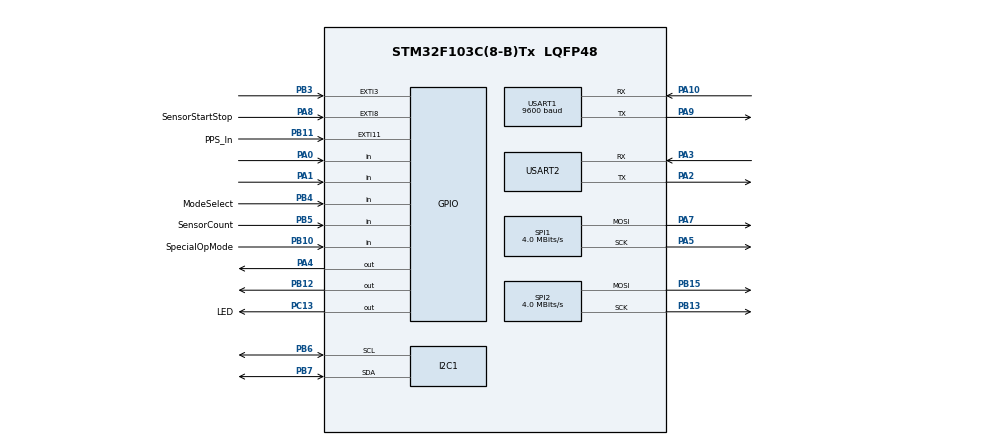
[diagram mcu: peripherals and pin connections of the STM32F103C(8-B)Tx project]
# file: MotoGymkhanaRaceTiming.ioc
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Mcu.Family=STM32F1
Mcu.Name=STM32F103C(8-B)Tx
Mcu.Package=LQFP48
NVIC.EXTI15_10_IRQn=true\:2\:0\:true\:false\:true\:true\:true
NVIC.EXTI3_IRQn=true\:1\:0\:true\:false\:true\:true\:true
NVIC.EXTI9_5_IRQn=true\:2\:0\:true\:false\:true\:true\:true
NVIC.PriorityGroup=NVIC_PRIORITYGROUP_4
NVIC.TIM2_IRQn=true\:0\:0\:false\:false\:true\:true\:true
PA0-WKUP.Signal=GPIO_Input
PA1.Signal=GPIO_Input
PA10.Mode=Asynchronous
PA10.Signal=USART1_RX
PA13.Mode=Serial_Wire
PA13.Signal=SYS_JTMS-SWDIO
PA14.Mode=Serial_Wire
PA14.Signal=SYS_JTCK-SWCLK
PA2.Mode=Asynchronous
PA2.Signal=USART2_TX
PA3.Mode=Asynchronous
PA3.Signal=USART2_RX
PA4.Signal=GPIO_Output
PA5.Mode=TX_Only_Simplex_Unidirect_Master
PA5.Signal=SPI1_SCK
PA7.Mode=TX_Only_Simplex_Unidirect_Master
PA7.Signal=SPI1_MOSI
PA8.GPIO_Label=SensorStartStop
PA8.GPIO_PuPd=GPIO_PULLDOWN
PA8.Signal=GPXTI8
PA9.Mode=Asynchronous
PA9.Signal=USART1_TX
PB10.GPIO_Label=SpecialOpMode
PB10.GPIO_PuPd=GPIO_PULLDOWN
PB10.Signal=GPIO_Input
PB11.GPIO_Label=PPS_In
PB11.GPIO_PuPd=GPIO_PULLDOWN
PB11.Signal=GPXTI11
PB12.Signal=GPIO_Output
PB13.Mode=TX_Only_Simplex_Unidirect_Master
PB13.Signal=SPI2_SCK
PB15.Mode=TX_Only_Simplex_Unidirect_Master
PB15.Signal=SPI2_MOSI
PB3.GPIO_PuPd=GPIO_PULLDOWN
PB3.Signal=GPXTI3
PB4.GPIO_Label=ModeSelect
PB4.GPIO_PuPd=GPIO_PULLDOWN
PB4.Signal=GPIO_Input
PB5.GPIO_Label=SensorCount
PB5.GPIO_PuPd=GPIO_PULLDOWN
PB5.Signal=GPIO_Input
PB6.Mode=I2C
PB6.Signal=I2C1_SCL
PB7.Mode=I2C
PB7.Signal=I2C1_SDA
PC13-TAMPER-RTC.GPIO_Label=LED
PC13-TAMPER-RTC.Signal=GPIO_Output
PC14-OSC32_IN.Mode=LSE-External-Oscillator
PC14-OSC32_IN.Signal=RCC_OSC32_IN
PC15-OSC32_OUT.Mode=LSE-External-Oscillator
PC15-OSC32_OUT.Signal=RCC_OSC32_OUT
PD0-OSC_IN.Mode=HSE-External-Oscillator
PD0-OSC_IN.Signal=RCC_OSC_IN
PD1-OSC_OUT.Mode=HSE-External-Oscillator
PD1-OSC_OUT.Signal=RCC_OSC_OUT
ProjectManager.HeapSize=0x200
ProjectManager.StackSize=0x400
ProjectManager.TargetToolchain=STM32CubeIDE
RCC.AHBFreq_Value=32000000
RCC.APB1Freq_Value=32000000
RCC.APB1TimFreq_Value=32000000
RCC.APB2Freq_Value=32000000
RCC.APB2TimFreq_Value=32000000
RCC.HCLKFreq_Value=32000000
RCC.HSICalibrationValue=8
RCC.PLLMUL=RCC_PLL_MUL4
RCC.PLLSourceVirtual=RCC_PLLSOURCE_HSE
RCC.SYSCLKFreq_VALUE=32000000
RCC.SYSCLKSource=RCC_SYSCLKSOURCE_PLLCLK
RCC.USBFreq_Value=32000000
SPI1.BaudRatePrescaler=SPI_BAUDRATEPRESCALER_8
SPI1.CalculateBaudRate=4.0 MBits/s
SPI1.DataSize=SPI_DATASIZE_16BIT
SPI1.Direction=SPI_DIRECTION_2LINES
SPI1.Mode=SPI_MODE_MASTER
SPI1.VirtualType=VM_MASTER
SPI2.BaudRatePrescaler=SPI_BAUDRATEPRESCALER_8
SPI2.CalculateBaudRate=4.0 MBits/s
SPI2.DataSize=SPI_DATASIZE_16BIT
SPI2.Direction=SPI_DIRECTION_2LINES
SPI2.Mode=SPI_MODE_MASTER
SPI2.VirtualType=VM_MASTER
TIM2.AutoReloadPreload=TIM_AUTORELOAD_PRELOAD_ENABLE
TIM2.Period=999
TIM2.Prescaler=31
USART1.BaudRate=9600
USART1.VirtualMode=VM_ASYNC
USART2.VirtualMode=VM_ASYNC
VP_TIM2_VS_ClockSourceINT.Mode=Internal
board=custom

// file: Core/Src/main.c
/* USER CODE BEGIN Header */
/**
  ******************************************************************************
  * @file           : main.c
  * @brief          : Main program body
  ******************************************************************************
  * @attention
  *
  * <h2><center>&copy; Copyright (c) 2020 STMicroelectronics.
  * All rights reserved.</center></h2>
  *
  * This software component is licensed by ST under BSD 3-Clause license,
  * the "License"; You may not use this file except in compliance with the
  * License. You may obtain a copy of the License at:
  *                        opensource.org/licenses/BSD-3-Clause
  *
  ******************************************************************************
  */
/* USER CODE END Header */

#include "main.h"

/* USER CODE BEGIN Includes */
#include "TimeMgmt.h"
#include "Configuration.h"
#include "RaceTiming.h"
#include "Inputs.h"
#include <string.h>
/* USER CODE END Includes */

/* USER CODE BEGIN PV */
uint8_t uartData[14] = {0};
volatile uint8_t uartTxIndex = 0;
/* USER CODE END PV */

void SystemClock_Config(void);
static void MX_GPIO_Init(void);
static void MX_USART1_UART_Init(void);
static void MX_TIM2_Init(void);
static void MX_I2C1_Init(void);
static void MX_SPI2_Init(void);
static void MX_SPI1_Init(void);
static void MX_USART2_UART_Init(void);

int main(void)
{

    /* MCU Configuration--------------------------------------------------------*/

    /* Reset of all peripherals, Initializes the Flash interface and the Systick. */

    LL_APB2_GRP1_EnableClock(LL_APB2_GRP1_PERIPH_AFIO);
    LL_APB1_GRP1_EnableClock(LL_APB1_GRP1_PERIPH_PWR);

    NVIC_SetPriorityGrouping(NVIC_PRIORITYGROUP_4);

    /* System interrupt init*/

    /** NOJTAG: JTAG-DP Disabled and SW-DP Enabled
    */
    LL_GPIO_AF_Remap_SWJ_NOJTAG();

    /* Configure the system clock */
    SystemClock_Config();

    /* Initialize all configured peripherals */
    MX_GPIO_Init();
    MX_USART1_UART_Init();
    MX_TIM2_Init();
    MX_I2C1_Init();
    MX_SPI2_Init();
    MX_SPI1_Init();
    MX_USART2_UART_Init();
    /* USER CODE BEGIN 2 */
    LL_TIM_EnableIT_UPDATE(TIM2);
    LL_TIM_EnableCounter(TIM2);
    LL_I2C_Enable(I2C1);
    LL_GPIO_SetOutputPin(GPIOA, LL_GPIO_PIN_4);
    LL_GPIO_SetOutputPin(GPIOB, LL_GPIO_PIN_12);
    LL_SPI_Enable(SPI2);
    LL_SPI_Enable(SPI1);
    InitInputs();
    //LL_EXTI_EnableRisingTrig_0_31(LL_EXTI_LINE_11);
    //LL_EXTI_EnableRisingTrig_0_31(LL_EXTI_LINE_8);
    //LL_EXTI_EnableRisingTrig_0_31(LL_EXTI_LINE_3);

    /* USER CODE END 2 */

    /* Infinite loop */
    while(1)
    {

        /* USER CODE BEGIN 3 */
        UpdateAllInputs();
        if(ppsTick == 1U)
        {
            LL_GPIO_TogglePin(GPIOC, LL_GPIO_PIN_13);
            ppsTick = 0U;
        }
        if(autoConfigurationDone == 0U)
        {
            RunAutoConfiguration();
        }
        else
        {
            RunRaceTiming();
        }
    }
    /* USER CODE END 3 */
}

void SystemClock_Config(void)
{
    LL_FLASH_SetLatency(LL_FLASH_LATENCY_1);

    if(LL_FLASH_GetLatency() != LL_FLASH_LATENCY_1)
    {
        Error_Handler();
    }
    LL_RCC_HSE_Enable();

    /* Wait till HSE is ready */
    while(LL_RCC_HSE_IsReady() != 1)
    {

    }
    LL_RCC_PLL_ConfigDomain_SYS(LL_RCC_PLLSOURCE_HSE_DIV_1, LL_RCC_PLL_MUL_4);
    LL_RCC_PLL_Enable();

    /* Wait till PLL is ready */
    while(LL_RCC_PLL_IsReady() != 1)
    {

    }
    LL_RCC_SetAHBPrescaler(LL_RCC_SYSCLK_DIV_1);
    LL_RCC_SetAPB1Prescaler(LL_RCC_APB1_DIV_1);
    LL_RCC_SetAPB2Prescaler(LL_RCC_APB2_DIV_1);
    LL_RCC_SetSysClkSource(LL_RCC_SYS_CLKSOURCE_PLL);

    /* Wait till System clock is ready */
    while(LL_RCC_GetSysClkSource() != LL_RCC_SYS_CLKSOURCE_STATUS_PLL)
    {

    }
    LL_Init1msTick(32000000);
    LL_SetSystemCoreClock(32000000);
}

static void MX_I2C1_Init(void)
{

    LL_I2C_InitTypeDef I2C_InitStruct = {0};

    LL_GPIO_InitTypeDef GPIO_InitStruct = {0};

    LL_APB2_GRP1_EnableClock(LL_APB2_GRP1_PERIPH_GPIOB);
    /**I2C1 GPIO Configuration
    PB6   ------> I2C1_SCL
    PB7   ------> I2C1_SDA
    */
    GPIO_InitStruct.Pin = LL_GPIO_PIN_6 | LL_GPIO_PIN_7;
    GPIO_InitStruct.Mode = LL_GPIO_MODE_ALTERNATE;
    GPIO_InitStruct.Speed = LL_GPIO_SPEED_FREQ_HIGH;
    GPIO_InitStruct.OutputType = LL_GPIO_OUTPUT_OPENDRAIN;
    LL_GPIO_Init(GPIOB, &GPIO_InitStruct);

    /* Peripheral clock enable */
    LL_APB1_GRP1_EnableClock(LL_APB1_GRP1_PERIPH_I2C1);

    /** I2C Initialization
    */
    LL_I2C_DisableOwnAddress2(I2C1);
    LL_I2C_DisableGeneralCall(I2C1);
    LL_I2C_EnableClockStretching(I2C1);
    I2C_InitStruct.PeripheralMode = LL_I2C_MODE_I2C;
    I2C_InitStruct.ClockSpeed = 100000;
    I2C_InitStruct.DutyCycle = LL_I2C_DUTYCYCLE_2;
    I2C_InitStruct.OwnAddress1 = 0;
    I2C_InitStruct.TypeAcknowledge = LL_I2C_ACK;
    I2C_InitStruct.OwnAddrSize = LL_I2C_OWNADDRESS1_7BIT;
    LL_I2C_Init(I2C1, &I2C_InitStruct);
    LL_I2C_SetOwnAddress2(I2C1, 0);

}

static void MX_SPI1_Init(void)
{

    LL_SPI_InitTypeDef SPI_InitStruct = {0};

    LL_GPIO_InitTypeDef GPIO_InitStruct = {0};

    /* Peripheral clock enable */
    LL_APB2_GRP1_EnableClock(LL_APB2_GRP1_PERIPH_SPI1);

    LL_APB2_GRP1_EnableClock(LL_APB2_GRP1_PERIPH_GPIOA);
    /**SPI1 GPIO Configuration
    PA5   ------> SPI1_SCK
    PA7   ------> SPI1_MOSI
    */
    GPIO_InitStruct.Pin = LL_GPIO_PIN_5 | LL_GPIO_PIN_7;
    GPIO_InitStruct.Mode = LL_GPIO_MODE_ALTERNATE;
    GPIO_InitStruct.Speed = LL_GPIO_SPEED_FREQ_HIGH;
    GPIO_InitStruct.OutputType = LL_GPIO_OUTPUT_PUSHPULL;
    LL_GPIO_Init(GPIOA, &GPIO_InitStruct);

    /* SPI1 parameter configuration*/
    SPI_InitStruct.TransferDirection = LL_SPI_FULL_DUPLEX;
    SPI_InitStruct.Mode = LL_SPI_MODE_MASTER;
    SPI_InitStruct.DataWidth = LL_SPI_DATAWIDTH_16BIT;
    SPI_InitStruct.ClockPolarity = LL_SPI_POLARITY_LOW;
    SPI_InitStruct.ClockPhase = LL_SPI_PHASE_1EDGE;
    SPI_InitStruct.NSS = LL_SPI_NSS_SOFT;
    SPI_InitStruct.BaudRate = LL_SPI_BAUDRATEPRESCALER_DIV8;
    SPI_InitStruct.BitOrder = LL_SPI_MSB_FIRST;
    SPI_InitStruct.CRCCalculation = LL_SPI_CRCCALCULATION_DISABLE;
    SPI_InitStruct.CRCPoly = 10;
    LL_SPI_Init(SPI1, &SPI_InitStruct);

}

static void MX_SPI2_Init(void)
{

    LL_SPI_InitTypeDef SPI_InitStruct = {0};

    LL_GPIO_InitTypeDef GPIO_InitStruct = {0};

    /* Peripheral clock enable */
    LL_APB1_GRP1_EnableClock(LL_APB1_GRP1_PERIPH_SPI2);

    LL_APB2_GRP1_EnableClock(LL_APB2_GRP1_PERIPH_GPIOB);
    /**SPI2 GPIO Configuration
    PB13   ------> SPI2_SCK
    PB15   ------> SPI2_MOSI
    */
    GPIO_InitStruct.Pin = LL_GPIO_PIN_13 | LL_GPIO_PIN_15;
    GPIO_InitStruct.Mode = LL_GPIO_MODE_ALTERNATE;
    GPIO_InitStruct.Speed = LL_GPIO_SPEED_FREQ_HIGH;
    GPIO_InitStruct.OutputType = LL_GPIO_OUTPUT_PUSHPULL;
    LL_GPIO_Init(GPIOB, &GPIO_InitStruct);

    /* SPI2 parameter configuration*/
    SPI_InitStruct.TransferDirection = LL_SPI_FULL_DUPLEX;
    SPI_InitStruct.Mode = LL_SPI_MODE_MASTER;
    SPI_InitStruct.DataWidth = LL_SPI_DATAWIDTH_16BIT;
    SPI_InitStruct.ClockPolarity = LL_SPI_POLARITY_LOW;
    SPI_InitStruct.ClockPhase = LL_SPI_PHASE_1EDGE;
    SPI_InitStruct.NSS = LL_SPI_NSS_SOFT;
    SPI_InitStruct.BaudRate = LL_SPI_BAUDRATEPRESCALER_DIV8;
    SPI_InitStruct.BitOrder = LL_SPI_MSB_FIRST;
    SPI_InitStruct.CRCCalculation = LL_SPI_CRCCALCULATION_DISABLE;
    SPI_InitStruct.CRCPoly = 10;
    LL_SPI_Init(SPI2, &SPI_InitStruct);

}

static void MX_TIM2_Init(void)
{

    LL_TIM_InitTypeDef TIM_InitStruct = {0};

    /* Peripheral clock enable */
    LL_APB1_GRP1_EnableClock(LL_APB1_GRP1_PERIPH_TIM2);

    /* TIM2 interrupt Init */
    NVIC_SetPriority(TIM2_IRQn, NVIC_EncodePriority(NVIC_GetPriorityGrouping(), 0, 0));
    NVIC_EnableIRQ(TIM2_IRQn);

    TIM_InitStruct.Prescaler = 31;
    TIM_InitStruct.CounterMode = LL_TIM_COUNTERMODE_UP;
    TIM_InitStruct.Autoreload = 99;
    TIM_InitStruct.ClockDivision = LL_TIM_CLOCKDIVISION_DIV1;
    LL_TIM_Init(TIM2, &TIM_InitStruct);
    LL_TIM_EnableARRPreload(TIM2);
    LL_TIM_SetClockSource(TIM2, LL_TIM_CLOCKSOURCE_INTERNAL);
    LL_TIM_SetTriggerOutput(TIM2, LL_TIM_TRGO_RESET);
    LL_TIM_DisableMasterSlaveMode(TIM2);

}

static void MX_USART1_UART_Init(void)
{

    LL_USART_InitTypeDef USART_InitStruct = {0};

    LL_GPIO_InitTypeDef GPIO_InitStruct = {0};

    /* Peripheral clock enable */
    LL_APB2_GRP1_EnableClock(LL_APB2_GRP1_PERIPH_USART1);

    LL_APB2_GRP1_EnableClock(LL_APB2_GRP1_PERIPH_GPIOA);
    /**USART1 GPIO Configuration
    PA9   ------> USART1_TX
    PA10   ------> USART1_RX
    */
    GPIO_InitStruct.Pin = LL_GPIO_PIN_9;
    GPIO_InitStruct.Mode = LL_GPIO_MODE_ALTERNATE;
    GPIO_InitStruct.Speed = LL_GPIO_SPEED_FREQ_HIGH;
    GPIO_InitStruct.OutputType = LL_GPIO_OUTPUT_PUSHPULL;
    LL_GPIO_Init(GPIOA, &GPIO_InitStruct);

    GPIO_InitStruct.Pin = LL_GPIO_PIN_10;
    GPIO_InitStruct.Mode = LL_GPIO_MODE_FLOATING;
    LL_GPIO_Init(GPIOA, &GPIO_InitStruct);

    USART_InitStruct.BaudRate = 9600;
    USART_InitStruct.DataWidth = LL_USART_DATAWIDTH_8B;
    USART_InitStruct.StopBits = LL_USART_STOPBITS_1;
    USART_InitStruct.Parity = LL_USART_PARITY_NONE;
    USART_InitStruct.TransferDirection = LL_USART_DIRECTION_TX_RX;
    USART_InitStruct.HardwareFlowControl = LL_USART_HWCONTROL_NONE;
    USART_InitStruct.OverSampling = LL_USART_OVERSAMPLING_16;
    LL_USART_Init(USART1, &USART_InitStruct);
    LL_USART_ConfigAsyncMode(USART1);
    LL_USART_Enable(USART1);

}

static void MX_USART2_UART_Init(void)
{

    LL_USART_InitTypeDef USART_InitStruct = {0};

    LL_GPIO_InitTypeDef GPIO_InitStruct = {0};

    /* Peripheral clock enable */
    LL_APB1_GRP1_EnableClock(LL_APB1_GRP1_PERIPH_USART2);

    LL_APB2_GRP1_EnableClock(LL_APB2_GRP1_PERIPH_GPIOA);
    /**USART2 GPIO Configuration
    PA2   ------> USART2_TX
    PA3   ------> USART2_RX
    */
    GPIO_InitStruct.Pin = LL_GPIO_PIN_2;
    GPIO_InitStruct.Mode = LL_GPIO_MODE_ALTERNATE;
    GPIO_InitStruct.Speed = LL_GPIO_SPEED_FREQ_HIGH;
    GPIO_InitStruct.OutputType = LL_GPIO_OUTPUT_PUSHPULL;
    LL_GPIO_Init(GPIOA, &GPIO_InitStruct);

    GPIO_InitStruct.Pin = LL_GPIO_PIN_3;
    GPIO_InitStruct.Mode = LL_GPIO_MODE_FLOATING;
    LL_GPIO_Init(GPIOA, &GPIO_InitStruct);

    USART_InitStruct.BaudRate = 115200;
    USART_InitStruct.DataWidth = LL_USART_DATAWIDTH_8B;
    USART_InitStruct.StopBits = LL_USART_STOPBITS_1;
    USART_InitStruct.Parity = LL_USART_PARITY_NONE;
    USART_InitStruct.TransferDirection = LL_USART_DIRECTION_TX_RX;
    USART_InitStruct.HardwareFlowControl = LL_USART_HWCONTROL_NONE;
    USART_InitStruct.OverSampling = LL_USART_OVERSAMPLING_16;
    LL_USART_Init(USART2, &USART_InitStruct);
    LL_USART_ConfigAsyncMode(USART2);
    LL_USART_Enable(USART2);

}

static void MX_GPIO_Init(void)
{
    LL_EXTI_InitTypeDef EXTI_InitStruct = {0};
    LL_GPIO_InitTypeDef GPIO_InitStruct = {0};

    /* GPIO Ports Clock Enable */
    LL_APB2_GRP1_EnableClock(LL_APB2_GRP1_PERIPH_GPIOC);
    LL_APB2_GRP1_EnableClock(LL_APB2_GRP1_PERIPH_GPIOD);
    LL_APB2_GRP1_EnableClock(LL_APB2_GRP1_PERIPH_GPIOA);
    LL_APB2_GRP1_EnableClock(LL_APB2_GRP1_PERIPH_GPIOB);

    /**/
    LL_GPIO_ResetOutputPin(LED_GPIO_Port, LED_Pin);

    /**/
    LL_GPIO_ResetOutputPin(GPIOA, LL_GPIO_PIN_4);

    /**/
    LL_GPIO_ResetOutputPin(GPIOB, LL_GPIO_PIN_12);

    /**/
    GPIO_InitStruct.Pin = LED_Pin;
    GPIO_InitStruct.Mode = LL_GPIO_MODE_OUTPUT;
    GPIO_InitStruct.Speed = LL_GPIO_SPEED_FREQ_LOW;
    GPIO_InitStruct.OutputType = LL_GPIO_OUTPUT_PUSHPULL;
    LL_GPIO_Init(LED_GPIO_Port, &GPIO_InitStruct);

    /**/
    GPIO_InitStruct.Pin = LL_GPIO_PIN_0 | LL_GPIO_PIN_1;
    GPIO_InitStruct.Mode = LL_GPIO_MODE_FLOATING;
    LL_GPIO_Init(GPIOA, &GPIO_InitStruct);

    /**/
    GPIO_InitStruct.Pin = LL_GPIO_PIN_4;
    GPIO_InitStruct.Mode = LL_GPIO_MODE_OUTPUT;
    GPIO_InitStruct.Speed = LL_GPIO_SPEED_FREQ_LOW;
    GPIO_InitStruct.OutputType = LL_GPIO_OUTPUT_PUSHPULL;
    LL_GPIO_Init(GPIOA, &GPIO_InitStruct);

    /**/
    GPIO_InitStruct.Pin = SpecialOpMode_Pin | OperationMode_Pin | SensorCount_Pin;
    GPIO_InitStruct.Mode = LL_GPIO_MODE_INPUT;
    GPIO_InitStruct.Pull = LL_GPIO_PULL_DOWN;
    LL_GPIO_Init(GPIOB, &GPIO_InitStruct);

    /**/
    GPIO_InitStruct.Pin = LL_GPIO_PIN_12;
    GPIO_InitStruct.Mode = LL_GPIO_MODE_OUTPUT;
    GPIO_InitStruct.Speed = LL_GPIO_SPEED_FREQ_LOW;
    GPIO_InitStruct.OutputType = LL_GPIO_OUTPUT_PUSHPULL;
    LL_GPIO_Init(GPIOB, &GPIO_InitStruct);

    /**/
    LL_GPIO_AF_SetEXTISource(LL_GPIO_AF_EXTI_PORTB, LL_GPIO_AF_EXTI_LINE11);

    /**/
    LL_GPIO_AF_SetEXTISource(LL_GPIO_AF_EXTI_PORTA, LL_GPIO_AF_EXTI_LINE8);

    /**/
    LL_GPIO_AF_SetEXTISource(LL_GPIO_AF_EXTI_PORTB, LL_GPIO_AF_EXTI_LINE3);

    /**/
    EXTI_InitStruct.Line_0_31 = LL_EXTI_LINE_11;
    EXTI_InitStruct.LineCommand = ENABLE;
    EXTI_InitStruct.Mode = LL_EXTI_MODE_IT;
    EXTI_InitStruct.Trigger = LL_EXTI_TRIGGER_RISING;
    LL_EXTI_Init(&EXTI_InitStruct);

    /**/
    EXTI_InitStruct.Line_0_31 = LL_EXTI_LINE_8;
    EXTI_InitStruct.LineCommand = ENABLE;
    EXTI_InitStruct.Mode = LL_EXTI_MODE_IT;
    EXTI_InitStruct.Trigger = LL_EXTI_TRIGGER_RISING;
    LL_EXTI_Init(&EXTI_InitStruct);

    /**/
    EXTI_InitStruct.Line_0_31 = LL_EXTI_LINE_3;
    EXTI_InitStruct.LineCommand = ENABLE;
    EXTI_InitStruct.Mode = LL_EXTI_MODE_IT;
    EXTI_InitStruct.Trigger = LL_EXTI_TRIGGER_RISING;
    LL_EXTI_Init(&EXTI_InitStruct);

    /**/
    LL_GPIO_SetPinPull(PPS_In_GPIO_Port, PPS_In_Pin, LL_GPIO_PULL_DOWN);

    /**/
    LL_GPIO_SetPinPull(SensorStartStop_GPIO_Port, SensorStartStop_Pin, LL_GPIO_PULL_DOWN);

    /**/
    LL_GPIO_SetPinPull(GPIOB, LL_GPIO_PIN_3, LL_GPIO_PULL_DOWN);

    /**/
    LL_GPIO_SetPinMode(PPS_In_GPIO_Port, PPS_In_Pin, LL_GPIO_MODE_INPUT);

    /**/
    LL_GPIO_SetPinMode(SensorStartStop_GPIO_Port, SensorStartStop_Pin, LL_GPIO_MODE_INPUT);

    /**/
    LL_GPIO_SetPinMode(GPIOB, LL_GPIO_PIN_3, LL_GPIO_MODE_INPUT);

    /* EXTI interrupt init*/
    NVIC_SetPriority(EXTI3_IRQn, NVIC_EncodePriority(NVIC_GetPriorityGrouping(), 1, 0));
    NVIC_EnableIRQ(EXTI3_IRQn);
    NVIC_SetPriority(EXTI9_5_IRQn, NVIC_EncodePriority(NVIC_GetPriorityGrouping(), 2, 0));
    NVIC_EnableIRQ(EXTI9_5_IRQn);
    NVIC_SetPriority(EXTI15_10_IRQn, NVIC_EncodePriority(NVIC_GetPriorityGrouping(), 2, 0));
    NVIC_EnableIRQ(EXTI15_10_IRQn);

}

void Error_Handler(void)
{
}

/************************ (C) COPYRIGHT STMicroelectronics *****END OF FILE****/
